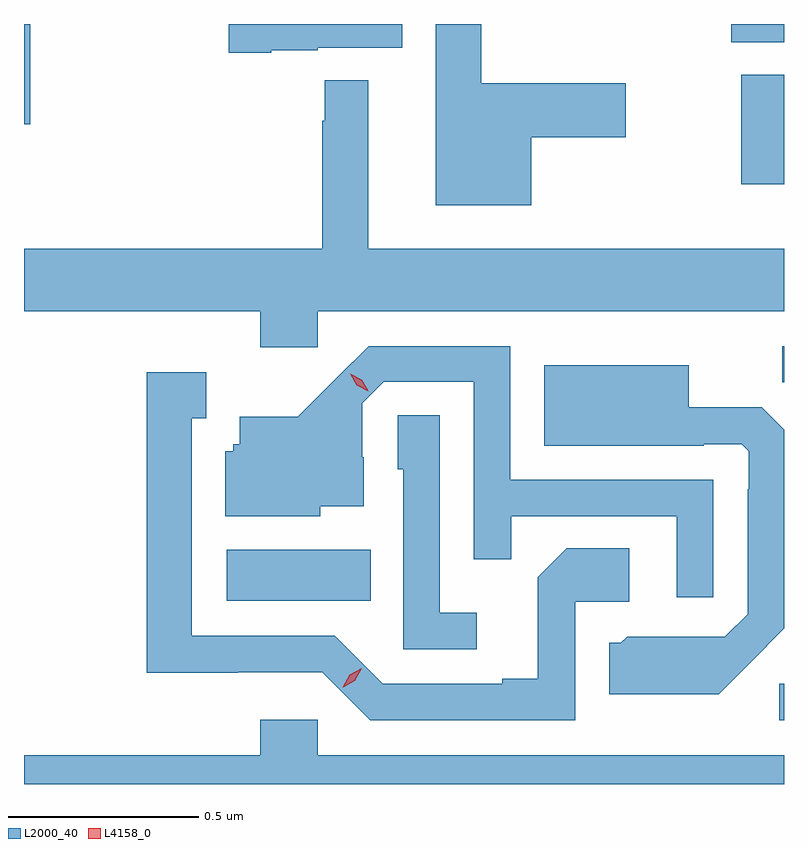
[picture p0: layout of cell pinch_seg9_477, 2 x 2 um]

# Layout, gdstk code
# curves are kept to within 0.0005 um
import gdstk
lib = gdstk.Library(unit=1e-6, precision=1e-09)
def R(c, l, rs):  # rectangles x0, y0, x1, y1
    for r in rs: c.add(gdstk.rectangle(r[:2], r[2:], *l))
def P(c, l, *ps):  # polygons
    for p in ps: c.add(gdstk.Polygon(p, *l))
L2000_40 = (2000, 40)
L4158_0 = (4158, 0)

pinch_seg9_477 = lib.new_cell('pinch_seg9_477')
R(pinch_seg9_477, L2000_40, [(258.045,1190.016,258.057,1190.112), (256.59,1190.33,256.97,1190.464), (258.052,1190.905,258.057,1191), (257.944,1191.426,258.057,1191.715), (256.057,1191.584,256.073,1191.848), (257.918,1191.8,258.057,1191.848)])
P(pinch_seg9_477, L2000_40, [(257.392,1191.55),(257.641,1191.55),(257.641,1191.692),(257.26,1191.692),(257.26,1191.848),(257.141,1191.848),(257.141,1191.371),(257.392,1191.371)],
  [(256.708,1191.779),(256.83,1191.779),(256.83,1191.785),(257.053,1191.785),(257.053,1191.848),(256.596,1191.848),(256.596,1191.773),(256.708,1191.773)],
  [(256.83,1191.092),(258.057,1191.092),(258.057,1191.256),(256.963,1191.256),(256.963,1191.7),(256.849,1191.7),(256.849,1191.593),(256.842,1191.593),(256.842,1191.256),(256.057,1191.256),(256.057,1191.092),(256.679,1191.092),(256.679,1190.997),(256.83,1190.997)],
  [(257.871,1190.649),(257.337,1190.649),(257.337,1191),(256.964,1191),(256.777,1190.815),(256.625,1190.815),(256.625,1190.742),(256.608,1190.742),(256.608,1190.724),(256.586,1190.724),(256.586,1190.552),(256.836,1190.552),(256.836,1190.579),(256.951,1190.579),(256.951,1190.708),(256.947,1190.708),(256.947,1190.85),(257.004,1190.907),(257.241,1190.907),(257.241,1190.44),(257.339,1190.44),(257.339,1190.553),(257.775,1190.553),(257.775,1190.34),(257.871,1190.34)],
  [(257.965,1190.165),(258.057,1190.258),(258.057,1190.78),(257.998,1190.839),(257.806,1190.839),(257.806,1190.95),(257.426,1190.95),(257.426,1190.738),(257.846,1190.738),(257.846,1190.742),(257.946,1190.742),(257.964,1190.724),(257.964,1190.624),(257.961,1190.624),(257.961,1190.295),(257.901,1190.235),(257.778,1190.235),(257.778,1190.236),(257.644,1190.236),(257.628,1190.22),(257.597,1190.22),(257.597,1190.084),(257.885,1190.084)],
  [(257.508,1190.328),(257.65,1190.328),(257.65,1190.468),(257.485,1190.468),(257.409,1190.392),(257.409,1190.125),(257.315,1190.125),(257.315,1190.112),(257.001,1190.112),(256.875,1190.238),(256.498,1190.238),(256.498,1190.811),(256.537,1190.811),(256.537,1190.932),(256.38,1190.932),(256.38,1190.141),(256.62,1190.141),(256.62,1190.142),(256.842,1190.142),(256.968,1190.016),(257.508,1190.016)],
  [(257.248,1190.299),(257.151,1190.299),(257.151,1190.819),(257.04,1190.819),(257.04,1190.676),(257.055,1190.676),(257.055,1190.202),(257.248,1190.202)],
  [(258.057,1189.924),(256.83,1189.924),(256.83,1190.017),(256.679,1190.017),(256.679,1189.924),(256.057,1189.924),(256.057,1189.848),(258.057,1189.848)])
P(pinch_seg9_477, L4158_0, [(256.963,1190.882),(256.932,1190.898),(256.915,1190.927),(256.915,1190.928),(256.915,1190.928),(256.946,1190.912),(256.963,1190.883),(256.963,1190.882)],
  [(256.896,1190.102),(256.896,1190.102),(256.914,1190.135),(256.946,1190.153),(256.946,1190.153),(256.946,1190.153),(256.928,1190.12),(256.897,1190.102)])

lib.write_gds('pinch_seg9_477.gds')
